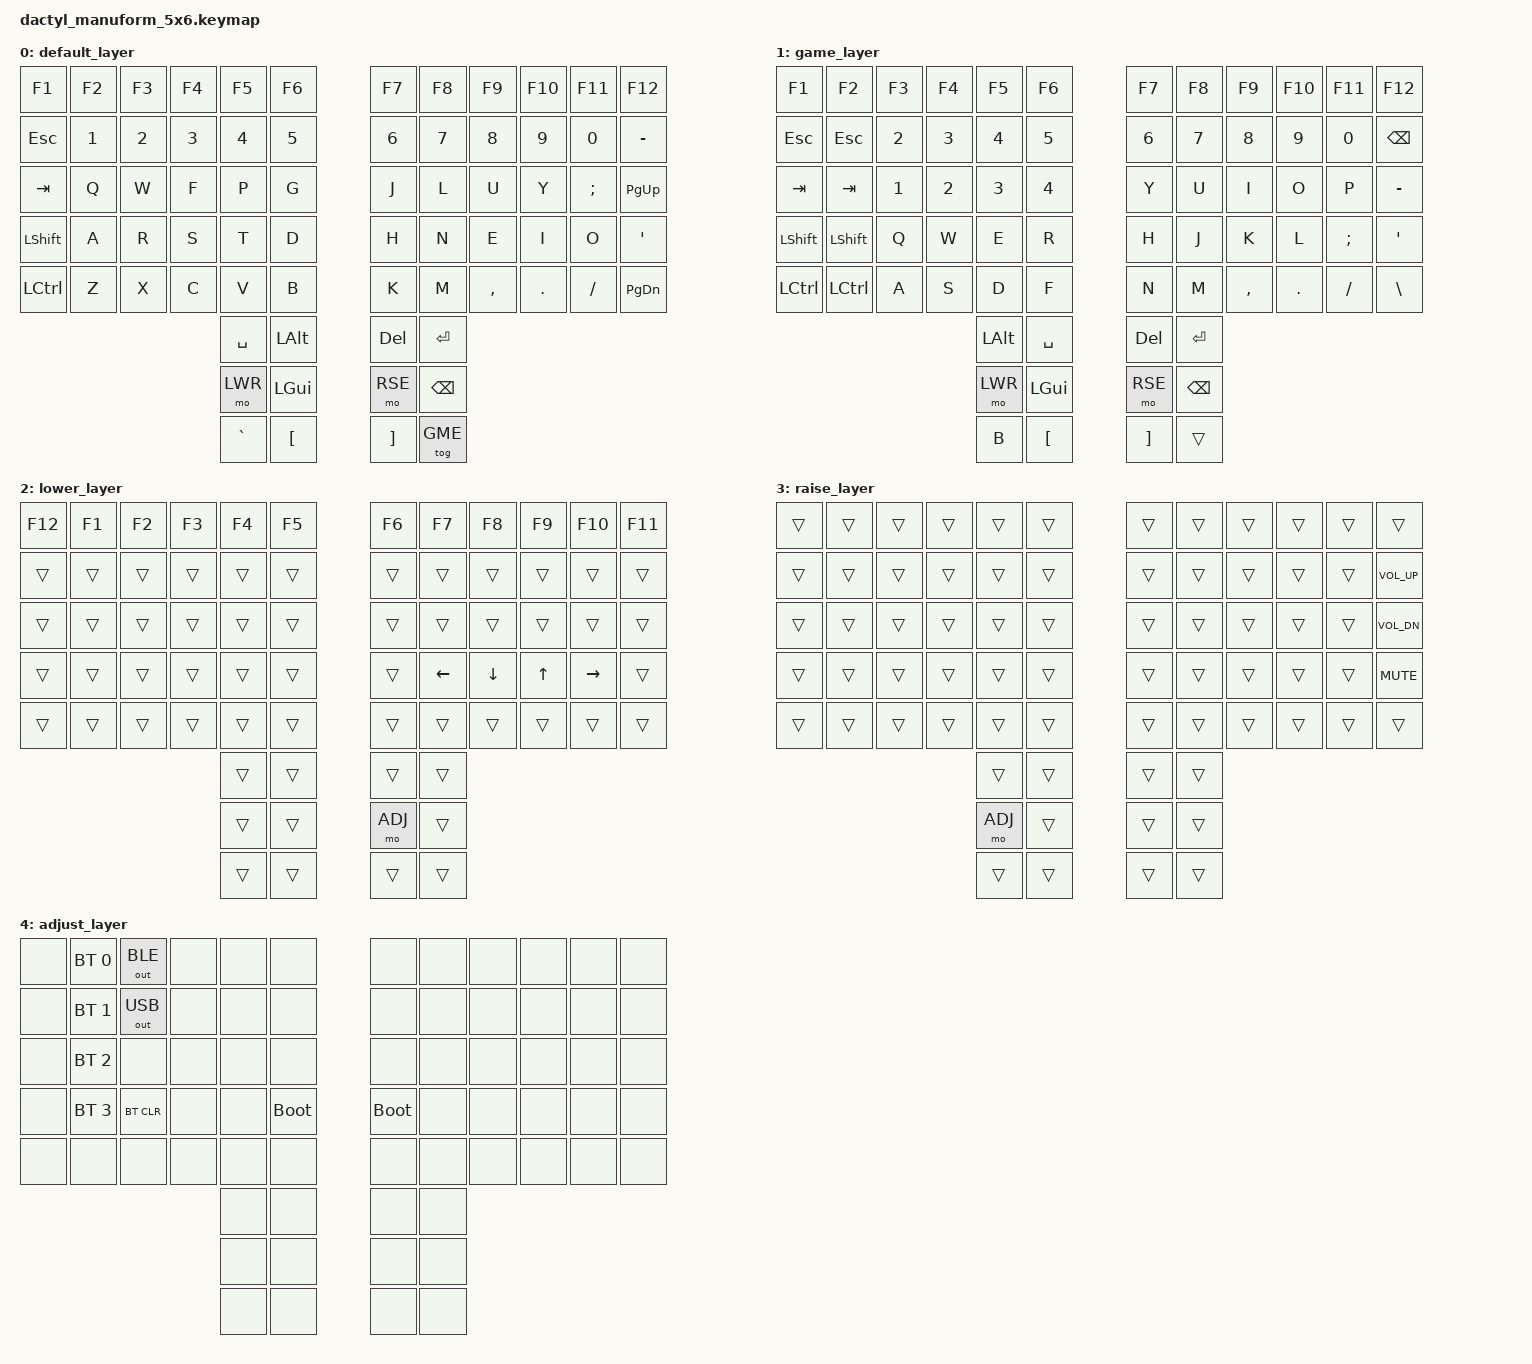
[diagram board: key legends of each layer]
#include <behaviors.dtsi>
#include <dt-bindings/zmk/keys.h>
#include <dt-bindings/zmk/bt.h>
#include <dt-bindings/zmk/outputs.h>

#define DEFAULT 0
#define GME 1
#define LWR 2
#define RSE 3
#define ADJ 4


/ {
    keymap {
        compatible = "zmk,keymap";

        default_layer {
            bindings = <
                &kp F1    &kp F2 &kp F3 &kp F4 &kp F5 &kp F6              &kp F7 &kp F8 &kp F9    &kp F10 &kp F11  &kp F12
                &kp ESC   &kp N1 &kp N2 &kp N3 &kp N4 &kp N5              &kp N6 &kp N7 &kp N8    &kp N9  &kp N0   &kp MINUS
                &kp TAB   &kp Q  &kp W  &kp F  &kp P  &kp G               &kp J  &kp L  &kp U     &kp Y   &kp SEMI &kp PG_UP
                &kp LSHFT &kp A  &kp R  &kp S  &kp T  &kp D               &kp H  &kp N  &kp E     &kp I   &kp O    &kp SQT
                &kp LCTRL &kp Z  &kp X  &kp C  &kp V  &kp B               &kp K  &kp M  &kp COMMA &kp DOT &kp FSLH &kp PG_DN
                                            &kp SPACE &kp LALT            &kp DEL  &kp ENTER
                                            &mo LWR   &kp LGUI            &mo RSE  &kp BSPC
                                            &kp GRAVE &kp LBKT            &kp RBKT &tog GME
            >;
        };

        game_layer {
            bindings = <
                &kp F1    &kp F2 &kp F3 &kp F4 &kp F5 &kp F6              &kp F7 &kp F8 &kp F9    &kp F10 &kp F11  &kp F12
                &kp ESC   &kp ESC &kp N2 &kp N3 &kp N4 &kp N5              &kp N6 &kp N7 &kp N8    &kp N9  &kp N0   &kp BSPC
                &kp TAB   &kp TAB  &kp N1  &kp N2  &kp N3  &kp N4               &kp Y  &kp U  &kp I     &kp O   &kp P    &kp MINUS
                &kp LSHFT &kp LSHFT  &kp Q  &kp W  &kp E  &kp R               &kp H  &kp J  &kp K     &kp L   &kp SEMI &kp SQT
                &kp LCTRL &kp LCTRL  &kp A  &kp S  &kp D  &kp F               &kp N  &kp M  &kp COMMA &kp DOT &kp FSLH &kp BSLH
                                            &kp LALT &kp SPACE            &kp DEL  &kp ENTER
                                            &mo LWR   &kp LGUI            &mo RSE  &kp BSPC
                                            &kp B &kp LBKT            &kp RBKT &trans
            >;
        };

        lower_layer {
            bindings = <
                &kp F12 &kp F1 &kp F2 &kp F3 &kp F4 &kp F5                &kp F6 &kp F7   &kp F8   &kp F9 &kp F10   &kp F11
                &trans  &trans &trans &trans &trans &trans                &trans &trans   &trans   &trans &trans    &trans
                &trans  &trans &trans &trans &trans &trans                &trans &trans   &trans   &trans &trans &trans
                &trans  &trans &trans &trans &trans &trans                &trans &kp LEFT &kp DOWN &kp UP &kp RIGHT &trans
                &trans  &trans &trans &trans &trans &trans                &trans &trans   &trans   &trans &trans    &trans
                                             &trans &trans                &trans &trans
                                             &trans &trans                &mo ADJ &trans
                                             &trans &trans                &trans &trans
            >;
        };

        raise_layer {
            bindings = <
                &trans  &trans &trans &trans &trans &trans                &trans &trans &trans &trans &trans &trans
                &trans  &trans &trans &trans &trans &trans                &trans &trans &trans &trans &trans &kp K_VOL_UP
                &trans  &trans &trans &trans &trans &trans                &trans &trans &trans &trans &trans &kp K_VOL_DN
                &trans  &trans &trans &trans &trans &trans                &trans &trans &trans &trans &trans &kp K_MUTE
                &trans  &trans &trans &trans &trans &trans                &trans &trans &trans &trans &trans &trans
                                             &trans &trans                &trans &trans
                                             &mo ADJ &trans               &trans &trans
                                             &trans  &trans               &trans &trans
            >;
        };

        adjust_layer {
            bindings = <
                &none &bt BT_SEL 0 &out OUT_BLE &none &none  &none            &none       &none  &none &none &none &none
                &none &bt BT_SEL 1 &out OUT_USB &none &none &none             &none       &none &none &none &none &none
                &none &bt BT_SEL 2 &none        &none &none  &none            &none       &none  &none &none &none &none
                &none &bt BT_SEL 3 &bt BT_CLR   &none &none  &bootloader      &bootloader &none  &none &none &none &none
                &none &none        &none        &none &none &none             &none &none &none &none &none &none
                                                      &none &none             &none &none
                                                      &none &none             &none &none
                                                      &none &none             &none &none
            >;
        };
    };
};
